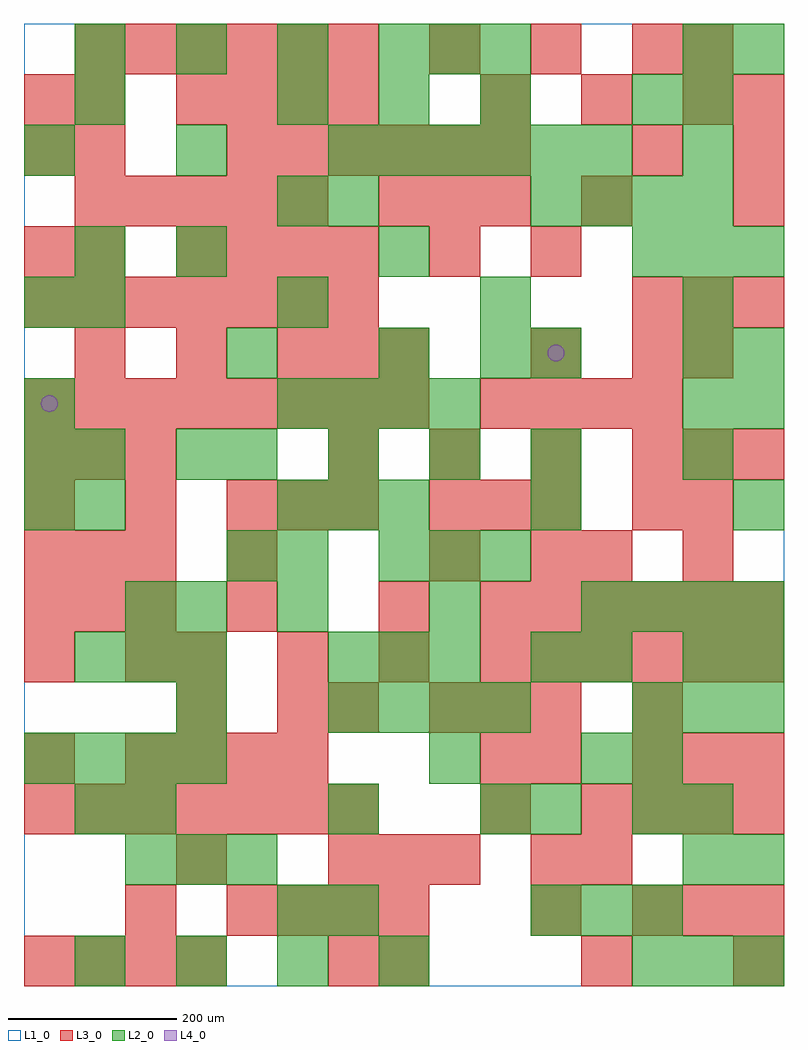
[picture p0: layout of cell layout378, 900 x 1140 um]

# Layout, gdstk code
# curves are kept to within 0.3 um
import gdstk
lib = gdstk.Library(unit=1e-6, precision=1e-09)
def R(c, l, rs):  # rectangles x0, y0, x1, y1
    for r in rs: c.add(gdstk.rectangle(r[:2], r[2:], *l))
def A(c, l, x, y, w, h, nx, ny, dx, dy):  # array of equal rectangles
    R(c, l, [(x+i*dx, y+j*dy, x+i*dx+w, y+j*dy+h) for i in range(nx) for j in range(ny)])
def P(c, l, *ps):  # polygons
    for p in ps: c.add(gdstk.Polygon(p, *l))
L1_0 = (1, 0)
L2_0 = (2, 0)
L3_0 = (3, 0)
L4_0 = (4, 0)

layout378 = lib.new_cell('layout378')
R(layout378, L1_0, [(0,0,900,1140)])
A(layout378, L2_0, 60, 0, 60, 60, 4, 2, 120, 1080)
A(layout378, L2_0, 720, 0, 60, 60, 3, 2, 60, 300)
A(layout378, L2_0, 300, 60, 60, 60, 1, 3, 0, 420)
A(layout378, L2_0, 600, 60, 60, 60, 3, 1, 60, 0)
A(layout378, L2_0, 120, 120, 60, 60, 3, 1, 60, 0)
A(layout378, L2_0, 600, 180, 60, 60, 1, 4, 0, 180)
A(layout378, L2_0, 0, 240, 60, 60, 4, 1, 60, 0)
A(layout378, L2_0, 360, 300, 60, 60, 4, 1, 60, 0)
A(layout378, L2_0, 60, 360, 60, 60, 3, 1, 60, 0)
A(layout378, L2_0, 360, 360, 60, 60, 3, 1, 60, 0)
A(layout378, L2_0, 300, 420, 60, 60, 3, 1, 180, 0)
A(layout378, L2_0, 720, 420, 60, 60, 3, 2, 60, 420)
A(layout378, L2_0, 420, 480, 60, 60, 3, 1, 60, 0)
A(layout378, L2_0, 0, 540, 60, 60, 1, 3, 0, 60)
A(layout378, L2_0, 300, 540, 60, 60, 3, 1, 60, 0)
A(layout378, L2_0, 240, 600, 60, 60, 4, 1, 120, 0)
A(layout378, L2_0, 780, 600, 60, 60, 1, 3, 0, 60)
A(layout378, L2_0, 300, 660, 60, 60, 4, 1, 60, 0)
A(layout378, L2_0, 60, 780, 60, 60, 4, 1, 240, 0)
A(layout378, L2_0, 600, 900, 60, 60, 4, 1, 60, 0)
A(layout378, L2_0, 0, 960, 60, 60, 3, 1, 180, 0)
A(layout378, L2_0, 420, 960, 60, 60, 5, 1, 60, 0)
A(layout378, L2_0, 780, 960, 60, 60, 1, 3, 0, 60)
A(layout378, L2_0, 300, 1020, 60, 60, 3, 1, 120, 0)
R(layout378, L2_0, [(360,60,420,120), (780,120,840,180), (840,120,900,180), (60,180,120,240), (120,180,180,240), (360,180,420,240), (540,180,600,240), (720,180,780,240), (780,180,840,240), (480,240,540,300), (660,240,720,300), (720,240,780,300), (180,300,240,360), (660,360,720,420), (780,360,840,420), (840,360,900,420), (120,420,180,480), (180,420,240,480), (240,480,300,540), (60,540,120,600), (840,540,900,600), (60,600,120,660), (180,600,240,660), (840,660,900,720), (240,720,300,780), (420,720,480,780), (540,720,600,780), (840,720,900,780), (0,780,60,840), (60,840,120,900), (180,840,240,900), (420,840,480,900), (360,900,420,960), (60,1020,120,1080), (720,1020,780,1080), (480,1080,540,1140), (540,1080,600,1140), (840,1080,900,1140)])
A(layout378, L3_0, 0, 0, 60, 60, 4, 1, 60, 0)
A(layout378, L3_0, 240, 60, 60, 60, 4, 1, 60, 0)
A(layout378, L3_0, 720, 60, 60, 60, 3, 2, 60, 180)
A(layout378, L3_0, 360, 120, 60, 60, 3, 1, 60, 0)
A(layout378, L3_0, 0, 180, 60, 60, 7, 2, 60, 600)
A(layout378, L3_0, 660, 180, 60, 60, 4, 1, 60, 0)
A(layout378, L3_0, 120, 240, 60, 60, 4, 1, 60, 0)
A(layout378, L3_0, 600, 240, 60, 60, 1, 3, 0, 240)
A(layout378, L3_0, 480, 300, 60, 60, 3, 2, 60, 240)
A(layout378, L3_0, 180, 360, 60, 60, 4, 1, 120, 0)
A(layout378, L3_0, 600, 360, 60, 60, 5, 1, 60, 0)
A(layout378, L3_0, 0, 420, 60, 60, 3, 2, 60, 60)
A(layout378, L3_0, 540, 420, 60, 60, 6, 1, 60, 0)
A(layout378, L3_0, 780, 480, 60, 60, 1, 3, 0, 60)
A(layout378, L3_0, 0, 540, 60, 60, 3, 1, 120, 0)
A(layout378, L3_0, 0, 600, 60, 60, 3, 1, 60, 0)
A(layout378, L3_0, 360, 600, 60, 60, 4, 1, 120, 0)
A(layout378, L3_0, 0, 660, 60, 60, 8, 1, 60, 0)
A(layout378, L3_0, 540, 660, 60, 60, 4, 1, 60, 0)
A(layout378, L3_0, 60, 720, 60, 60, 3, 1, 120, 0)
A(layout378, L3_0, 720, 780, 60, 60, 3, 1, 60, 0)
A(layout378, L3_0, 180, 840, 60, 60, 4, 2, 60, 180)
A(layout378, L3_0, 60, 900, 60, 60, 5, 1, 60, 0)
A(layout378, L3_0, 420, 900, 60, 60, 3, 1, 60, 0)
A(layout378, L3_0, 840, 900, 60, 60, 1, 3, 0, 60)
A(layout378, L3_0, 240, 960, 60, 60, 6, 1, 60, 0)
A(layout378, L3_0, 540, 1020, 60, 60, 3, 1, 120, 0)
A(layout378, L3_0, 60, 1080, 60, 60, 6, 1, 60, 0)
A(layout378, L3_0, 480, 1080, 60, 60, 3, 1, 120, 0)
R(layout378, L3_0, [(360,0,420,60), (420,0,480,60), (660,0,720,60), (840,0,900,60), (120,60,180,120), (600,60,660,120), (180,120,240,180), (600,120,660,180), (660,120,720,180), (540,180,600,240), (0,240,60,300), (540,240,600,300), (180,300,240,360), (300,300,360,360), (360,300,420,360), (720,300,780,360), (0,360,60,420), (120,360,180,420), (240,420,300,480), (420,420,480,480), (240,480,300,540), (480,480,540,540), (660,480,720,540), (300,540,360,600), (360,540,420,600), (720,540,780,600), (840,600,900,660), (360,720,420,780), (420,720,480,780), (720,720,780,780), (780,720,840,780), (0,840,60,900), (60,840,120,900), (480,840,540,900), (600,840,660,900), (660,900,720,960), (0,960,60,1020), (60,960,120,1020), (720,960,780,1020), (0,1020,60,1080), (60,1020,120,1080), (780,1080,840,1140)])
P(layout378, L4_0, [(40,690),(39.239,693.827),(37.071,697.071),(33.827,699.239),(30,700),(26.173,699.239),(22.929,697.071),(20.761,693.827),(20,690),(20.761,686.173),(22.929,682.929),(26.173,680.761),(30,680),(33.827,680.761),(37.071,682.929),(39.239,686.173)],
  [(640,750),(639.239,753.827),(637.071,757.071),(633.827,759.239),(630,760),(626.173,759.239),(622.929,757.071),(620.761,753.827),(620,750),(620.761,746.173),(622.929,742.929),(626.173,740.761),(630,740),(633.827,740.761),(637.071,742.929),(639.239,746.173)])

lib.write_gds('layout378.gds')
